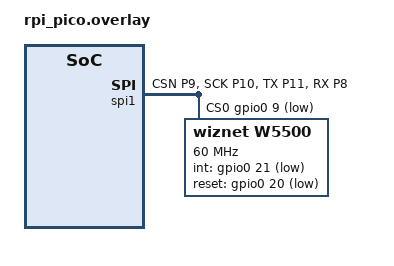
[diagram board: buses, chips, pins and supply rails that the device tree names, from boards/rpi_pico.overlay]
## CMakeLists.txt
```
# SPDX-License-Identifier: Apache-2.0

cmake_minimum_required(VERSION 3.20.0)

find_package(Zephyr REQUIRED HINTS $ENV{ZEPHYR_BASE})
project(sockets_echo_client)

if(CONFIG_NET_SOCKETS_SOCKOPT_TLS AND
   CONFIG_MBEDTLS_KEY_EXCHANGE_PSK_ENABLED AND
   (CONFIG_NET_SAMPLE_PSK_HEADER_FILE STREQUAL "dummy_psk.h"))
  add_custom_target(development_psk
    COMMAND ${CMAKE_COMMAND} -E echo "----------------------------------------------------------"
    COMMAND ${CMAKE_COMMAND} -E echo "--- WARNING: Using dummy PSK! Only suitable for        ---"
    COMMAND ${CMAKE_COMMAND} -E echo "--- development. Set NET_SAMPLE_PSK_HEADER_FILE to use ---"
    COMMAND ${CMAKE_COMMAND} -E echo "--- own pre-shared key.                                ---"
    COMMAND ${CMAKE_COMMAND} -E echo "----------------------------------------------------------"
  )
  add_dependencies(app development_psk)
endif()

target_sources(app PRIVATE
    src/main.c
)
```

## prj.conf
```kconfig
# Generic networking options
CONFIG_NETWORKING=y
CONFIG_NET_UDP=y
CONFIG_NET_TCP=y
CONFIG_NET_IPV6=n
CONFIG_NET_IPV4=y
CONFIG_NET_SOCKETS=y
CONFIG_NET_SOCKETS_POLL_MAX=4
CONFIG_NET_CONNECTION_MANAGER=y

CONFIG_POSIX_API=y

# Kernel options
CONFIG_MAIN_STACK_SIZE=2048
CONFIG_ENTROPY_GENERATOR=y
CONFIG_TEST_RANDOM_GENERATOR=y
CONFIG_INIT_STACKS=y

# Logging
CONFIG_NET_LOG=y
CONFIG_LOG=y
CONFIG_NET_STATISTICS=y
CONFIG_PRINTK=y

# Network shell
#CONFIG_NET_SHELL=y

CONFIG_NET_CONFIG_SETTINGS=y
CONFIG_NET_CONFIG_NEED_IPV4=y
CONFIG_NET_CONFIG_MY_IPV4_ADDR="192.168.11.2"
CONFIG_NET_CONFIG_MY_IPV4_NETMASK="255.255.255.0"
CONFIG_NET_CONFIG_PEER_IPV4_ADDR="192.168.11.1"
CONFIG_SYSTEM_WORKQUEUE_STACK_SIZE=2048

CONFIG_SERIAL=y

CONFIG_NET_IF_LOG_LEVEL_DBG=n
CONFIG_ETHERNET_LOG_LEVEL_DBG=n
```

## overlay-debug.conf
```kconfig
CONFIG_NO_OPTIMIZATIONS=y
#CONFIG_DEBUG=y

CONFIG_ASSERT=y

CONFIG_STACK_SENTINEL=y
CONFIG_STACK_CANARIES=y
```

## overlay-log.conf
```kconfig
CONFIG_LOG=y
CONFIG_LOG_MODE_IMMEDIATE=n
CONFIG_LOG_BACKEND_SHOW_COLOR=n

CONFIG_LOG_BUFFER_SIZE=4096

CONFIG_NET_LOG=y

CONFIG_NET_SOCKETS_LOG_LEVEL_DBG=y
CONFIG_NET_CONN_LOG_LEVEL_DBG=y
CONFIG_NET_CONTEXT_LOG_LEVEL_DBG=y

CONFIG_NET_TCP_LOG_LEVEL_DBG=y

CONFIG_NET_IF_LOG_LEVEL_DBG=y
CONFIG_NET_L2_ETHERNET_LOG_LEVEL_DBG=y

#CONFIG_SLIP_LOG_LEVEL_DBG=y

CONFIG_ETHERNET_LOG_LEVEL_DBG=y
#CONFIG_ETH_E1000_VERBOSE_DEBUG=y

#CONFIG_NET_PKT_LOG_LEVEL_DBG=y

#CONFIG_NET_BUF_LOG=y
#CONFIG_NET_BUF_LOG_LEVEL_DBG=y
```

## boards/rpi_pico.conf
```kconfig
CONFIG_GPIO=y
CONFIG_SPI=y

CONFIG_RING_BUFFER=y
CONFIG_ASSERT=y

CONFIG_SPI=y
CONFIG_DMA=y
CONFIG_SPI_PL022_DMA=y
CONFIG_SPI_ASYNC=n
CONFIG_SPI_PL022_INTERRUPT=n

CONFIG_NET_L2_ETHERNET=y

# Enable socket offload
CONFIG_NET_SOCKETS_OFFLOAD=y

CONFIG_ETH_W5500=y
CONFIG_ETH_W5500_TIMEOUT=1000
CONFIG_ETH_W5500_SOCKET_TIMEOUT=0

CONFIG_MAIN_STACK_SIZE=8192
CONFIG_ETH_W5500_RX_THREAD_STACK_SIZE=4096
CONFIG_SPI_COMPLETION_TIMEOUT_TOLERANCE=400
```

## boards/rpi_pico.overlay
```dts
&pinctrl {
    spi1_default: spi1_default {
		group1 {
			pinmux = <SPI1_CSN_P9>, <SPI1_SCK_P10>, <SPI1_TX_P11>;
		};
		group2 {
			pinmux = <SPI1_RX_P8>;
			input-enable;
		};
	};
};

&spi1 {
    status = "ok";
    cs-gpios = <&gpio0 9 GPIO_ACTIVE_LOW>;  // might be omitted since spi copntroller has a dedicated CSn pin
    pinctrl-0 = <&spi1_default>;
    pinctrl-names = "default";

    test_spi_w5500@0 {
		compatible = "wiznet,w5500";
        label="w5500";
        reg = <0>;
        spi-max-frequency = <60000000>;
        int-gpios = <&gpio0 21 GPIO_ACTIVE_LOW>;
        reset-gpios = <&gpio0 20 GPIO_ACTIVE_LOW>;
        local-mac-address = [00 08 dc 12 34 56];
    };
};
```

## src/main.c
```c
#include <zephyr/logging/log.h>
LOG_MODULE_REGISTER(net_echo_client_sample, LOG_LEVEL_DBG);

#include <zephyr/kernel.h>
#include <errno.h>
#include <string.h>
#include <stdio.h>
#include <zephyr/device.h>
#include <fcntl.h>

#include <zephyr/posix/sys/eventfd.h>

#include <zephyr/misc/lorem_ipsum.h>

#include <zephyr/usb/usb_device.h>
#include <zephyr/usb/usbd.h>
#include <zephyr/drivers/uart.h>
#include <zephyr/drivers/spi.h>
#include <zephyr/drivers/gpio.h>

#include <zephyr/net/net_if.h>
#include <zephyr/net/net_mgmt.h>
#include <zephyr/net/net_event.h>
#include <zephyr/net/conn_mgr_monitor.h>
#include <zephyr/net/socket.h>


#define LED0_NODE DT_ALIAS(led0)
static const struct gpio_dt_spec led = GPIO_DT_SPEC_GET(LED0_NODE, gpios);

K_SEM_DEFINE(run_app, 0, 1);

#define EVENT_MASK (NET_EVENT_L4_CONNECTED | \
		    NET_EVENT_L4_DISCONNECTED)

#define SOCKET_CNT 2

const char lorem_ipsum[] = LOREM_IPSUM;

const int ipsum_len = sizeof(lorem_ipsum);

struct echo_context {
    int sock;
    ssize_t tot_sendsize;
    ssize_t tot_recvsize;
    uint32_t sentsize_last_report_mib;
};

static struct echo_context echo_ctx[SOCKET_CNT];

uint8_t recvbuf[2048];

static struct net_mgmt_event_callback mgmt_cb;

#define THREAD_PRIORITY 8
#define NUM_OF_CLIENT 7
#define RECVBUF_SIZE 2048

static struct k_thread tcp_client_handler_thread[NUM_OF_CLIENT];

K_THREAD_STACK_ARRAY_DEFINE(tcp_client_handler_stack, NUM_OF_CLIENT, 1024);

static int client_fds[NUM_OF_CLIENT] = { -1, -1, -1, -1, -1, -1, -1 };

static uint8_t client_recvbuf[NUM_OF_CLIENT][RECVBUF_SIZE];

k_timepoint_t led_blink_timepoint;

static void loopback_tcp_client() {
    int ret = 0;
    struct sockaddr_in addr4;
    ssize_t sentsize = 0;
    ssize_t recvsize = 0;
    ssize_t sendbuf_offset;
    struct echo_context *ctx;

    uint8_t sockidx;

    for (sockidx = 0; sockidx < SOCKET_CNT; ++sockidx) {
        ctx = &echo_ctx[sockidx];

        ctx->tot_sendsize = 0;
        ctx->tot_recvsize = 0;
        ctx->sentsize_last_report_mib = 0;

        ctx->sock = socket(AF_INET, SOCK_STREAM, IPPROTO_TCP);

        if (ctx->sock < 0) {
            LOG_ERR("Socket %d initialization failed: %d (%s)", sockidx, errno, strerror(errno));

            goto end;
        }

        addr4.sin_family = AF_INET;
        addr4.sin_port = htons(4242);
        inet_pton(AF_INET, CONFIG_NET_CONFIG_PEER_IPV4_ADDR, &addr4.sin_addr);

        ret = connect(ctx->sock, (const struct sockaddr *)&addr4, sizeof(struct sockaddr_in));

        if (ret < 0) {
            LOG_ERR("Socket %d connect failed: %d (%s)", sockidx, errno, strerror(errno));

            goto end;
        }
    }

    while (1) {
        k_usleep(1);
        for (sockidx = 0; sockidx < SOCKET_CNT; ++sockidx) {
            ctx = &echo_ctx[sockidx];

            while (sentsize < ipsum_len) {
                ret = send(ctx->sock, lorem_ipsum+sentsize, ipsum_len-sentsize, 0);

                if (ret < 0) {
                    if (errno == EAGAIN) {
                        continue;
                    }
                    LOG_ERR("Socket %d send error: %d (%s)", sockidx, errno, strerror(errno));
                    goto end;
                }

                sentsize += ret;

                while (1)
                {
                    memset(recvbuf, 0, sizeof(recvbuf));
                    ret = recv(ctx->sock, recvbuf, sizeof(recvbuf), MSG_DONTWAIT);

                    if (ret <= 0) break;

                    recvsize = ret;

                    for (uint16_t idx=0; idx<recvsize; idx++) {
                        sendbuf_offset = ctx->tot_recvsize + idx;
                        while (sendbuf_offset >= ipsum_len)
                            sendbuf_offset -= ipsum_len;

                        if (*(lorem_ipsum+sendbuf_offset) != recvbuf[idx]) {
                            LOG_ERR("Socket %d received data doesn't match sent data at position %d, expect (%d) %c, got %c\n",
                                    sockidx, idx, sendbuf_offset, *(lorem_ipsum+sendbuf_offset), recvbuf[idx]);
                            LOG_ERR("Actual buffer offset %d", ctx->tot_recvsize+idx);
                            LOG_ERR("Buffer expected: %.256s\n", lorem_ipsum+sendbuf_offset);
                            LOG_ERR("Buffer received: %.256s\n", recvbuf);

                            goto end;
                        }
                    }

                    ctx->tot_recvsize += recvsize;
                    ctx->tot_recvsize = ctx->tot_recvsize % ipsum_len;
                }
            }

            ctx->tot_sendsize += sentsize;
            sentsize = 0;

            uint32_t sendsize_in_mib = ctx->tot_sendsize / (1024*1024);
            if (sendsize_in_mib > ctx->sentsize_last_report_mib) {

                LOG_INF("Socket %d :Exchanged %d MiB", sockidx, sendsize_in_mib);
                ctx->sentsize_last_report_mib = sendsize_in_mib;
            }
            k_usleep(1);
        }
    }

end:
    for (sockidx = 0; sockidx < SOCKET_CNT; ++sockidx) {
        if (echo_ctx[sockidx].sock > 0) {
            if(close(echo_ctx[sockidx].sock) == 0) {
                LOG_INF("Socket %d: closed.", sockidx);
                echo_ctx[sockidx].sock = 0;
            } else {
                LOG_ERR("Socket %d: close failed: %d (%s).", sockidx, errno, strerror(errno));
            }
        }
    }
}


static void loopback_udp_client() {
    int ret = 0;
    struct sockaddr_in addr4;
    ssize_t sentsize = 0;
    ssize_t recvsize = 0;
    ssize_t sendbuf_offset;
    struct echo_context *ctx;

    uint8_t sockidx;

    for (sockidx = 0; sockidx < SOCKET_CNT; ++sockidx) {
        ctx = &echo_ctx[sockidx];

        ctx->tot_sendsize = 0;
        ctx->tot_recvsize = 0;
        ctx->sentsize_last_report_mib = 0;

        ctx->sock = socket(AF_INET, SOCK_DGRAM, IPPROTO_UDP);

        if (ctx->sock < 0) {
            LOG_ERR("Socket %d initialization failed: %d (%s)", sockidx, errno, strerror(errno));

            goto end;
        }

        addr4.sin_family = AF_INET;
        addr4.sin_port = htons(4242);
        inet_pton(AF_INET, CONFIG_NET_CONFIG_PEER_IPV4_ADDR, &addr4.sin_addr);

        ret = connect(ctx->sock, (const struct sockaddr *)&addr4, sizeof(struct sockaddr_in));

        if (ret < 0) {
            LOG_ERR("Socket %d connect failed: %d (%s)", sockidx, errno, strerror(errno));

            goto end;
        }
    }

    while (1) {
		if (sys_timepoint_expired(led_blink_timepoint)) {
            gpio_pin_toggle_dt(&led);
            led_blink_timepoint = sys_timepoint_calc(K_MSEC(100));
        }

        for (sockidx = 0; sockidx < SOCKET_CNT; ++sockidx) {
            ctx = &echo_ctx[sockidx];

            while (sentsize < ipsum_len) {
                ret = send(ctx->sock, lorem_ipsum+sentsize, ipsum_len-sentsize, 0);

                if (ret < 0) {
                    LOG_ERR("Socket %d send error: %d (%s)", sockidx, errno, strerror(errno));
                    goto end;
                }

                sentsize += ret;

                while (1)
                {
                    memset(recvbuf, 0, sizeof(recvbuf));
                    ret = recv(ctx->sock, recvbuf, sizeof(recvbuf), MSG_DONTWAIT);

                    if (ret <= 0) break;

                    recvsize = ret;

                    for (uint16_t idx=0; idx<recvsize; idx++) {
                        sendbuf_offset = ctx->tot_recvsize + idx;
                        while (sendbuf_offset >= ipsum_len)
                            sendbuf_offset -= ipsum_len;

                        if (*(lorem_ipsum+sendbuf_offset) != recvbuf[idx]) {
                            LOG_ERR("Socket %d received data doesn't match sent data at position %d, expect (%d) %c, got %c\n",
                                    sockidx, idx, sendbuf_offset, *(lorem_ipsum+sendbuf_offset), recvbuf[idx]);
                            LOG_ERR("Actual buffer offset %d", ctx->tot_recvsize+idx);
                            LOG_ERR("Buffer expected: %.256s\n", lorem_ipsum+sendbuf_offset);
                            LOG_ERR("Buffer received: %.256s\n", recvbuf);

                            goto end;
                        }
                    }

                    ctx->tot_recvsize += recvsize;
                    ctx->tot_recvsize = ctx->tot_recvsize % ipsum_len;
                }
            }

            ctx->tot_sendsize += sentsize;
            sentsize = 0;

            uint32_t sendsize_in_mib = ctx->tot_sendsize / (1024*1024);
            if (sendsize_in_mib > ctx->sentsize_last_report_mib) {

                LOG_INF("Socket %d: Exchanged %d MiB", sockidx, sendsize_in_mib);
                ctx->sentsize_last_report_mib = sendsize_in_mib;
            }
            k_usleep(1);
        }
    }

end:
    for (sockidx = 0; sockidx < SOCKET_CNT; ++sockidx) {
        if (echo_ctx[sockidx].sock > 0) {
            if(close(echo_ctx[sockidx].sock) == 0) {
                LOG_INF("Socket %d: closed.", sockidx);
                echo_ctx[sockidx].sock = 0;
            } else {
                LOG_ERR("Socket %d: close failed: %d (%s).", sockidx, errno, strerror(errno));
            }
        }
    }
}



static void handle_tcp_client(void *ptr1, void *ptr2, void *ptr3)
{
    int ind = POINTER_TO_INT(ptr1);
    int client = client_fds[ind];

    uint8_t *recvbuf = &client_recvbuf[ind][0];

    int ret = 0;
    int sentsize = 0;
    int recvsize = 0;

    while (true) {
        recvsize = recv(client, recvbuf, RECVBUF_SIZE, MSG_DONTWAIT);

        if (recvsize < 0) {
            if (errno != EAGAIN) {
                    LOG_ERR("Socket fd %d recv error: %d (%s)", client, errno, strerror(errno));
                    goto end;
            }
            k_usleep(1);
            continue;
        }

        sentsize = 0;

        while (sentsize < recvsize) {
            ret = send(client, recvbuf+sentsize, recvsize-sentsize, 0);

            if (ret < 0) {
                if (errno == EAGAIN) {
                    continue;
                } else {
                    LOG_ERR("Socket fd %d send error: %d (%s)", client, errno, strerror(errno));
                    goto end;
                }
            }

            sentsize += ret;
        }

    }

end:
    close(client);
    client_fds[ind] = -1;
}

static void loopback_tcp_server() {
    int ret = 0;
    int sockidx = 0;

    struct echo_context *ctx = &echo_ctx[0];
	struct sockaddr_in addr4;

	(void)memset(&addr4, 0, sizeof(addr4));
	addr4.sin_family = AF_INET;
	addr4.sin_port = htons(4242);

    ctx->sock = socket(AF_INET, SOCK_STREAM, IPPROTO_TCP);

    ret = fcntl(ctx->sock, F_SETFL, O_NONBLOCK);

    if (ret < 0) {
        LOG_ERR("Socket %d fcntl failed: %d (%s)", sockidx, errno, strerror(errno));
        goto end;
    }

    ret = bind(ctx->sock, (struct sockaddr *)&addr4, sizeof(addr4));

    if (ret < 0) {
        LOG_ERR("Socket %d bind failed: %d (%s)", sockidx, errno, strerror(errno));
        goto end;
    }

    ret = listen(ctx->sock, 2);

    if (ret < 0) {
        LOG_ERR("Socket %d listen failed: %d (%s)", sockidx, errno, strerror(errno));
        goto end;
    }

    LOG_INF("Listening to *:%d", 4242);

    int client;
    struct sockaddr_in peeraddr;
    ssize_t addrlen;

    uint8_t slot;


    while (true) {
        k_msleep(100);

		if (sys_timepoint_expired(led_blink_timepoint)) {
            gpio_pin_toggle_dt(&led);
            led_blink_timepoint = sys_timepoint_calc(K_MSEC(100));
        }

        client = accept(ctx->sock, (struct sockaddr *)&peeraddr, &addrlen);

        if (client < 0) {
            if (errno == EAGAIN)
                continue;
            else
                goto end;
        }

        LOG_INF("Incoming connection from: %d.%d.%d.%d:%d",
                ((uint8_t *)&peeraddr.sin_addr.s_addr)[0],
                ((uint8_t *)&peeraddr.sin_addr.s_addr)[1],
                ((uint8_t *)&peeraddr.sin_addr.s_addr)[2],
                ((uint8_t *)&peeraddr.sin_addr.s_addr)[3],
                ntohs(peeraddr.sin_port));

        for (slot = 0; slot < NUM_OF_CLIENT; ++slot) {
            if (client_fds[slot] < 0) {
                break;
            }
        }

        __ASSERT(slot < NUM_OF_CLIENT, "no more slots?");

        client_fds[slot] = client;

        k_thread_create(
                &tcp_client_handler_thread[slot],
                tcp_client_handler_stack[slot],
                K_THREAD_STACK_SIZEOF(tcp_client_handler_stack[slot]),
                handle_tcp_client,
                INT_TO_POINTER(slot), 0, 0,
                THREAD_PRIORITY,
                0,
                K_NO_WAIT);
    }

end:
    if (ctx->sock) {
        close(ctx->sock);
    }
}

static void loopback_tcp_server_async() {
    int ret = 0;
    int sockidx = 0;

    struct echo_context *ctx = &echo_ctx[0];
	struct sockaddr_in addr4;

	(void)memset(&addr4, 0, sizeof(addr4));
	addr4.sin_family = AF_INET;
	addr4.sin_port = htons(4242);

    ctx->sock = socket(AF_INET, SOCK_STREAM, IPPROTO_TCP);

    ret = bind(ctx->sock, (struct sockaddr *)&addr4, sizeof(addr4));

    if (ret < 0) {
        LOG_ERR("Socket %d bind failed: %d (%s)", sockidx, errno, strerror(errno));
        goto end;
    }

    ret = listen(ctx->sock, 2);

    if (ret < 0) {
        LOG_ERR("Socket %d listen failed: %d (%s)", sockidx, errno, strerror(errno));
        goto end;
    }

    LOG_INF("Listening to *:%d", 4242);

    int client;
    struct sockaddr_in peeraddr;
    ssize_t addrlen;

    uint8_t slot;

    struct pollfd pollfds[1];

    while (true) {
        k_msleep(100);

		if (sys_timepoint_expired(led_blink_timepoint)) {
            gpio_pin_toggle_dt(&led);
            led_blink_timepoint = sys_timepoint_calc(K_MSEC(100));
        }

        pollfds[0].fd = ctx->sock;
        pollfds[0].events = POLLIN;

        ret = poll(pollfds, 1, 500);

        if (ret) {
            __ASSERT(pollfds[0].revents & POLLIN, "poll worked?");
            LOG_INF("poll returned %d", ret);

            client = accept(ctx->sock, (struct sockaddr *)&peeraddr, &addrlen);

            if (client < 0) {
                if (errno == EAGAIN)
                    continue;
                else
                    goto end;
            }

            LOG_INF("Incoming connection from: %d.%d.%d.%d:%d",
                    ((uint8_t *)&peeraddr.sin_addr.s_addr)[0],
                    ((uint8_t *)&peeraddr.sin_addr.s_addr)[1],
                    ((uint8_t *)&peeraddr.sin_addr.s_addr)[2],
                    ((uint8_t *)&peeraddr.sin_addr.s_addr)[3],
                    ntohs(peeraddr.sin_port));

            for (slot = 0; slot < NUM_OF_CLIENT; ++slot) {
                if (client_fds[slot] < 0) {
                    break;
                }
            }

            __ASSERT(slot < NUM_OF_CLIENT, "no more slots?");

            client_fds[slot] = client;

            k_thread_create(
                    &tcp_client_handler_thread[slot],
                    tcp_client_handler_stack[slot],
                    K_THREAD_STACK_SIZEOF(tcp_client_handler_stack[slot]),
                    handle_tcp_client,
                    INT_TO_POINTER(slot), 0, 0,
                    THREAD_PRIORITY,
                    0,
                    K_NO_WAIT);
        } else {
            LOG_INF("Poll got nothing");
        }
    }

end:
    if (ctx->sock) {
        close(ctx->sock);
    }
}


static void loopback_udp_server() {
    int ret = 0;
    struct echo_context *ctx = &echo_ctx[0];
	struct sockaddr_in addr4;

	(void)memset(&addr4, 0, sizeof(addr4));
	addr4.sin_family = AF_INET;
	addr4.sin_port = htons(4242);

    ctx->sock = socket(AF_INET, SOCK_DGRAM, IPPROTO_UDP);

    LOG_INF("Listening to *:%d (UDP)", 4242);

    ret = fcntl(ctx->sock, F_SETFL, O_NONBLOCK);

    if (ret < 0) {
        LOG_ERR("Socket fcntl failed: %d (%s)", errno, strerror(errno));
        goto end;
    }

    ret = bind(ctx->sock, (struct sockaddr *)&addr4, sizeof(addr4));

    uint8_t recvbuf[RECVBUF_SIZE];

    int i = 0;
    int sentsize = 0;
    int recvsize = 0;
    struct sockaddr_in peeraddr;
    socklen_t peeraddr_len;
    struct sockaddr_in connected_peers[NUM_OF_CLIENT];
    int num_connected_clients = 0;

    while (true) {
		if (sys_timepoint_expired(led_blink_timepoint)) {
            gpio_pin_toggle_dt(&led);
            led_blink_timepoint = sys_timepoint_calc(K_MSEC(100));
        }

        recvsize = recvfrom(ctx->sock, recvbuf, RECVBUF_SIZE, MSG_DONTWAIT, (struct sockaddr *)&peeraddr, &peeraddr_len);

        if (recvsize < 0) {
            if (errno != EAGAIN) {
                    LOG_ERR("Socket fd %d recv error: %d (%s)", ctx->sock, errno, strerror(errno));
            }
            k_usleep(1);
            continue;
        }

        for (i = 0; i < num_connected_clients; ++i) {
            if (memcmp(&peeraddr, &connected_peers[i], sizeof(struct sockaddr_in)) == 0) {
                break;
            }
        }

        if (i < NUM_OF_CLIENT) {
            if (i == num_connected_clients) {
                memcpy(&connected_peers[i], &peeraddr, sizeof(struct sockaddr_in));
                num_connected_clients++;

                LOG_INF("Incoming connection from: %d.%d.%d.%d:%d",
                        ((uint8_t *)&peeraddr.sin_addr.s_addr)[0],
                        ((uint8_t *)&peeraddr.sin_addr.s_addr)[1],
                        ((uint8_t *)&peeraddr.sin_addr.s_addr)[2],
                        ((uint8_t *)&peeraddr.sin_addr.s_addr)[3],
                        ntohs(peeraddr.sin_port));

            }
        } else {
            LOG_ERR("Too many peers!");
            continue;
        }

        sentsize = 0;

        while (sentsize < recvsize) {
            ret = sendto(ctx->sock,
                    recvbuf+sentsize,
                    recvsize-sentsize,
                    0,
                    (struct sockaddr *)&peeraddr,
                    sizeof(struct sockaddr_in));

            if (ret < 0) {
                if (errno != EAGAIN) {
                    LOG_ERR("Socket fd %d send error: %d (%s)", ctx->sock, errno, strerror(errno));
                }
                continue;
            }

            sentsize += ret;
        }

    }

end:
    close(ctx->sock);
}


static void init_app(struct net_mgmt_event_callback *cb,
			  uint32_t mgmt_event, struct net_if *iface)
{
    k_sem_give(&run_app);
}


int main(void)
{
    if (!gpio_is_ready_dt(&led)) {
        return 0;
    }

    if (gpio_pin_configure_dt(&led, GPIO_OUTPUT_ACTIVE) < 0) {
        return 0;
    }

    led_blink_timepoint = sys_timepoint_calc(K_MSEC(100));

	if (IS_ENABLED(CONFIG_NET_CONNECTION_MANAGER)) {
		net_mgmt_init_event_callback(&mgmt_cb, init_app, EVENT_MASK);
		net_mgmt_add_event_callback(&mgmt_cb);

		conn_mgr_mon_resend_status();
	}

    k_sem_take(&run_app, K_FOREVER);

    while (true) {
        loopback_tcp_client();
        //loopback_tcp_server();
        //loopback_udp_client();
        //loopback_udp_server();
        //loopback_tcp_server_async();

        k_msleep(1000);

        LOG_INF("Restarting...");
    }

	return 0;
}
```
